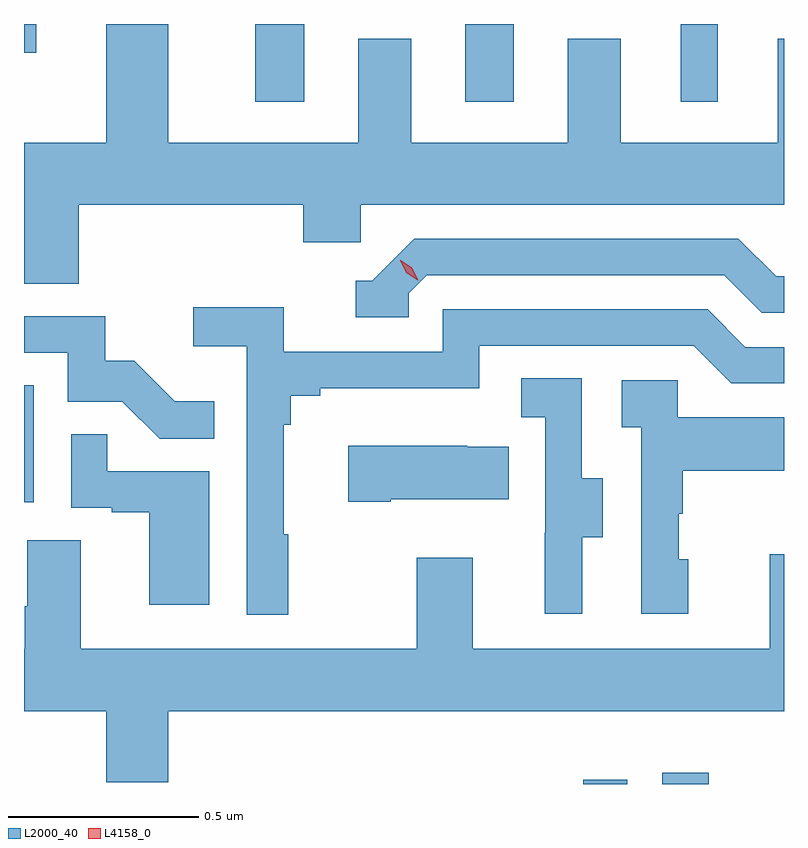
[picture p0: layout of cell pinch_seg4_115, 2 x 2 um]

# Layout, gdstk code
import gdstk
lib = gdstk.Library(unit=1e-6, precision=1e-09)
def R(c, l, rs):  # rectangles x0, y0, x1, y1
    for r in rs: c.add(gdstk.rectangle(r[:2], r[2:], *l))
def P(c, l, *ps):  # polygons
    for p in ps: c.add(gdstk.Polygon(p, *l))
L2000_40 = (2000, 40)
L4158_0 = (4158, 0)

pinch_seg4_115 = lib.new_cell('pinch_seg4_115')
R(pinch_seg4_115, L2000_40, [(1077.352,797.96,1077.468,797.971), (1077.56,797.96,1077.682,797.989), (1075.88,798.702,1075.906,799.009), (1076.489,799.755,1076.617,799.96), (1077.041,799.755,1077.169,799.96), (1077.608,799.755,1077.706,799.96), (1075.88,799.884,1075.912,799.96)])
P(pinch_seg4_115, L2000_40, [(1076.024,799.484),(1076.615,799.484),(1076.615,799.386),(1076.766,799.386),(1076.766,799.484),(1077.88,799.484),(1077.88,799.921),(1077.863,799.921),(1077.863,799.648),(1077.451,799.648),(1077.451,799.921),(1077.311,799.921),(1077.311,799.648),(1076.899,799.648),(1076.899,799.921),(1076.759,799.921),(1076.759,799.648),(1076.26,799.648),(1076.26,799.96),(1076.096,799.96),(1076.096,799.648),(1075.88,799.648),(1075.88,799.276),(1076.024,799.276)],
  [(1076.892,799.251),(1076.94,799.299),(1077.723,799.299),(1077.822,799.2),(1077.88,799.2),(1077.88,799.296),(1077.859,799.296),(1077.76,799.395),(1076.907,799.395),(1076.796,799.284),(1076.753,799.284),(1076.753,799.188),(1076.892,799.188)],
  [(1076.575,798.617),(1076.563,798.617),(1076.563,798.905),(1076.582,798.905),(1076.582,798.982),(1076.659,798.982),(1076.659,799.001),(1077.078,799.001),(1077.078,799.113),(1077.642,799.113),(1077.741,799.014),(1077.88,799.014),(1077.88,799.11),(1077.778,799.11),(1077.679,799.209),(1076.982,799.209),(1076.982,799.098),(1076.564,799.098),(1076.564,799.214),(1076.325,799.214),(1076.325,799.112),(1076.466,799.112),(1076.466,798.405),(1076.575,798.405)],
  [(1076.381,798.967),(1076.277,798.967),(1076.17,799.074),(1076.094,799.074),(1076.094,799.191),(1075.88,799.191),(1075.88,799.095),(1075.995,799.095),(1075.995,798.966),(1076.139,798.966),(1076.237,798.868),(1076.381,798.868)],
  [(1077.349,798.61),(1077.403,798.61),(1077.403,798.765),(1077.348,798.765),(1077.348,799.028),(1077.189,799.028),(1077.189,798.925),(1077.252,798.925),(1077.252,798.621),(1077.251,798.621),(1077.251,798.408),(1077.349,798.408)],
  [(1077.628,798.552),(1077.603,798.552),(1077.603,798.671),(1077.613,798.671),(1077.613,798.785),(1077.88,798.785),(1077.88,798.925),(1077.6,798.925),(1077.6,799.023),(1077.453,799.023),(1077.453,798.899),(1077.504,798.899),(1077.504,798.408),(1077.628,798.408)],
  [(1076.368,798.783),(1076.099,798.783),(1076.099,798.881),(1076.004,798.881),(1076.004,798.687),(1076.111,798.687),(1076.111,798.675),(1076.21,798.675),(1076.21,798.432),(1076.368,798.432)],
  [(1076.845,798.71),(1077.155,798.71),(1077.155,798.847),(1077.047,798.847),(1077.047,798.85),(1076.733,798.85),(1076.733,798.703),(1076.845,798.703)],
  [(1076.26,798.152),(1077.88,798.152),(1077.88,798.565),(1077.842,798.565),(1077.842,798.316),(1077.061,798.316),(1077.061,798.556),(1076.914,798.556),(1076.914,798.316),(1076.029,798.316),(1076.029,798.602),(1075.889,798.602),(1075.889,798.428),(1075.882,798.428),(1075.882,798.316),(1075.88,798.316),(1075.88,798.152),(1076.096,798.152),(1076.096,797.964),(1076.26,797.964)])
P(pinch_seg4_115, L4158_0, [(1076.916,799.286),(1076.886,799.306),(1076.87,799.338),(1076.87,799.338),(1076.871,799.338),(1076.901,799.319),(1076.917,799.286),(1076.917,799.286)])

lib.write_gds('pinch_seg4_115.gds')
